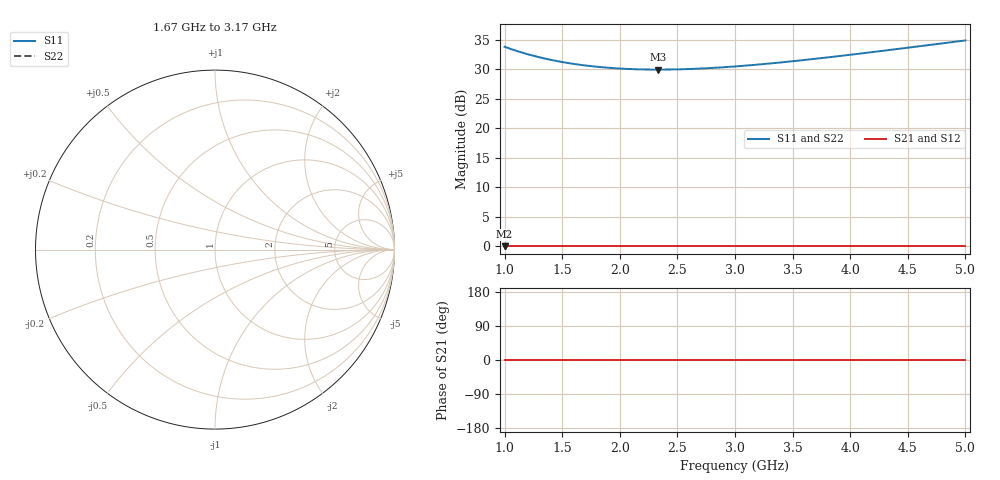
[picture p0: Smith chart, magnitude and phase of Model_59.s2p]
# GHZ S RI R 50
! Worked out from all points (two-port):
!   401 points, 1 GHz to 5 GHz, reference 50 ohm
!   highest |S21| = 0.00 dB at 1 GHz (marker M1); lowest = 0.0 dB at 1 GHz (marker M2)
!   |S21| within 3 dB of the highest: start of sweep to end of sweep
!   lowest |S11| = 29.9 dB at 2.33 GHz (marker M3)
!   |S11| at or under -10 dB: nowhere
!   |S22| runs from 29.9 to 34.9 dB; largest |S21 - S12| = 0
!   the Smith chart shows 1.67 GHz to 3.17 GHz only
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1  48.95 0  1 0  1 0  48.95 0
1.15  43.72 0  1 0  1 0  43.72 0
1.22  41.8 0  1 0  1 0  41.8 0
1.3  39.91 0  1 0  1 0  39.91 0
1.38  38.31 0  1 0  1 0  38.31 0
1.47  36.79 0  1 0  1 0  36.79 0
1.57  35.4 0  1 0  1 0  35.4 0
1.67  34.27 0  1 0  1 0  34.27 0
1.82  33 0  1 0  1 0  33 0
1.98  32.09 0  1 0  1 0  32.09 0
2.15  31.54 0  1 0  1 0  31.54 0
2.33  31.36 0  1 0  1 0  31.36 0
2.34  31.36 0  1 0  1 0  31.36 0
2.5  31.5 0  1 0  1 0  31.5 0
2.66  31.87 0  1 0  1 0  31.87 0
3  33.34 0  1 0  1 0  33.34 0
3.33  35.52 0  1 0  1 0  35.52 0
3.67  38.45 0  1 0  1 0  38.45 0
4  41.87 0  1 0  1 0  41.87 0
4.34  45.95 0  1 0  1 0  45.95 0
4.63  49.85 0  1 0  1 0  49.85 0
5  55.37 0  1 0  1 0  55.37 0
